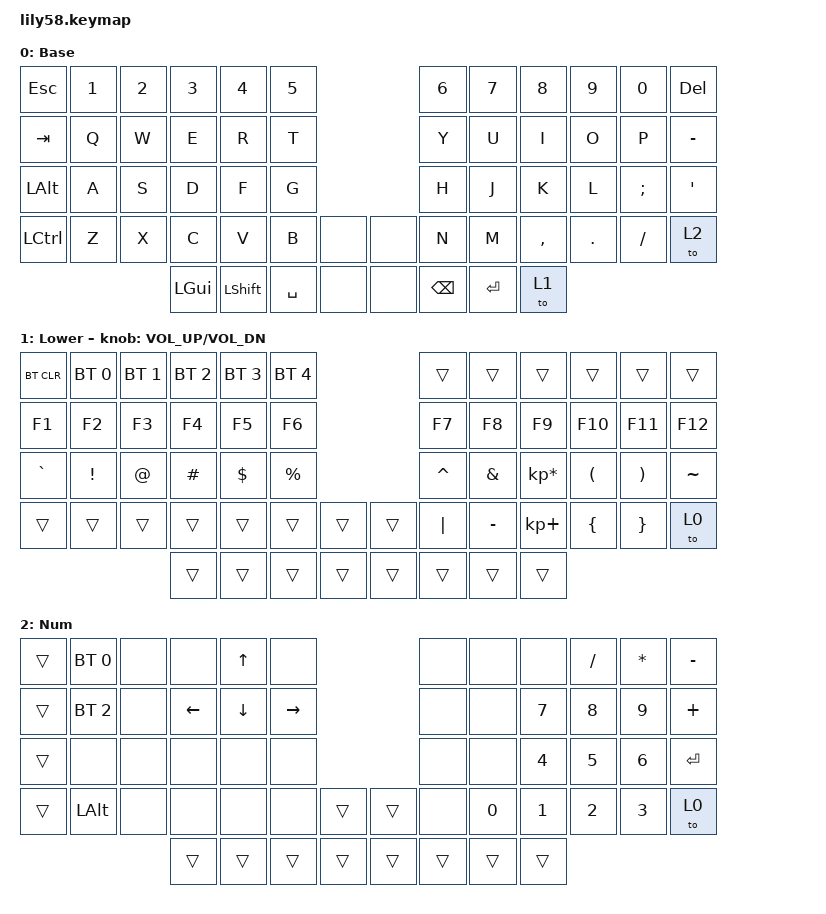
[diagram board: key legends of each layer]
/*
 * Copyright (c) 2020 The ZMK Contributors
 *
 * SPDX-License-Identifier: MIT
 */

#include <behaviors.dtsi>
#include <dt-bindings/zmk/bt.h>
#include <dt-bindings/zmk/keys.h>

/ {
    keymap {
        compatible = "zmk,keymap";

        default_layer {
            // ------------------------------------------------------------------------------------------------------------
            // |  ESC  |  1  |  2  |  3   |  4   |  5   |                   |  6   |  7    |  8    |  9   |   0   |   `   |
            // |  TAB  |  Q  |  W  |  E   |  R   |  T   |                   |  Y   |  U    |  I    |  O   |   P   |   -   |
            // |  CTRL |  A  |  S  |  D   |  F   |  G   |                   |  H   |  J    |  K    |  L   |   ;   |   '   |
            // | SHIFT |  Z  |  X  |  C   |  V   |  B   |   "["  |  |  "]"  |  N   |  M    |  ,    |  .   |   /   | SHIFT |
            //                     | ALT  | GUI  | LOWER|  SPACE |  | ENTER | RAISE| BSPC  | GUI   |

            display-name = "Base";
            bindings = <
&kp ESC           &kp N1  &kp N2  &kp N3        &kp N4          &kp N5                     &kp N6         &kp N7   &kp N8     &kp N9   &kp N0    &kp DEL
&kp TAB           &kp Q   &kp W   &kp E         &kp R           &kp T                      &kp Y          &kp U    &kp I      &kp O    &kp P     &kp MINUS
&kp LEFT_ALT      &kp A   &kp S   &kp D         &kp F           &kp G                      &kp H          &kp J    &kp K      &kp L    &kp SEMI  &kp SQT
&kp LEFT_CONTROL  &kp Z   &kp X   &kp C         &kp V           &kp B      &none    &none  &kp N          &kp M    &kp COMMA  &kp DOT  &kp FSLH  &to 2
                                  &kp LEFT_GUI  &kp LEFT_SHIFT  &kp SPACE  &none    &none  &kp BACKSPACE  &kp RET  &to 1
            >;
        };

        lower_layer {
            // ------------------------------------------------------------------------------------------------------------
            // | BTCLR | BT1 | BT2 |  BT3 |  BT4 |  BT5 |                   |      |       |       |      |       |       |
            // |  F1   |  F2 |  F3 |  F4  |  F5  |  F6  |                   |  F7  |  F8   |  F9   |  F10 |  F11  |  F12  |
            // |   `   |  !  |  @  |  #   |  $   |  %   |                   |  ^   |  &    |  *    |  (   |   )   |   ~   |
            // |       |     |     |      |      |      |        |  |       |      |  _    |  +    |  {   |   }   |  "|"  |
            //                     |      |      |      |        |  |       |      |       |       |

            display-name = "Lower";
            bindings = <
&bt BT_CLR  &bt BT_SEL 0  &bt BT_SEL 1  &bt BT_SEL 2  &bt BT_SEL 3  &bt BT_SEL 4                    &trans     &trans     &trans           &trans    &trans    &trans
&kp F1      &kp F2        &kp F3        &kp F4        &kp F5        &kp F6                          &kp F7     &kp F8     &kp F9           &kp F10   &kp F11   &kp F12
&kp GRAVE   &kp EXCL      &kp AT        &kp HASH      &kp DOLLAR    &kp PRCNT                       &kp CARET  &kp AMPS   &kp KP_MULTIPLY  &kp LPAR  &kp RPAR  &kp TILDE
&trans      &trans        &trans        &trans        &trans        &trans        &trans    &trans  &kp PIPE   &kp MINUS  &kp KP_PLUS      &kp LBRC  &kp RBRC  &to 0
                                        &trans        &trans        &trans        &trans    &trans  &trans     &trans     &trans
            >;

            sensor-bindings = <&inc_dec_kp C_VOL_UP C_VOL_DN>;
        };

        Numpad {
            // ------------------------------------------------------------------------------------------------------------
            // |       |     |     |      |      |      |                   |      |       |       |      |       |       |
            // |   `   |  1  |  2  |  3   |  4   |  5   |                   |  6   |   7   |   8   |  9   |   0   |       |
            // |   F1  |  F2 |  F3 |  F4  |  F5  |  F6  |                   |      |   <-  |   v   |  ^   |  ->   |       |
            // |   F7  |  F8 |  F9 |  F10 |  F11 |  F12 |        |  |       |  +   |   -   |   =   |  [   |   ]   |   \   |
            //                     |      |      |      |        |  |       |      |       |       |

            display-name = "Num";
            bindings = <
&trans  &bt BT_SEL 0  &none  &none     &kp UP    &none                        &none   &none   &none         &kp SLASH     &kp ASTERISK  &kp MINUS
&trans  &bt BT_SEL 2  &none  &kp LEFT  &kp DOWN  &kp RIGHT                    &none   &none   &kp N7        &kp N8        &kp N9        &kp PLUS
&trans  &none         &none  &none     &none     &none                        &none   &none   &kp NUMBER_4  &kp N5        &kp NUMBER_6  &kp RET
&trans  &kp LEFT_ALT  &none  &none     &none     &none      &trans    &trans  &none   &kp N0  &kp NUMBER_1  &kp NUMBER_2  &kp NUMBER_3  &to 0
                             &trans    &trans    &trans     &trans    &trans  &trans  &trans  &trans
            >;
        };

        extra_1 { status = "reserved"; };

        extra_2 { status = "reserved"; };

        extra_3 { status = "reserved"; };
    };
};
